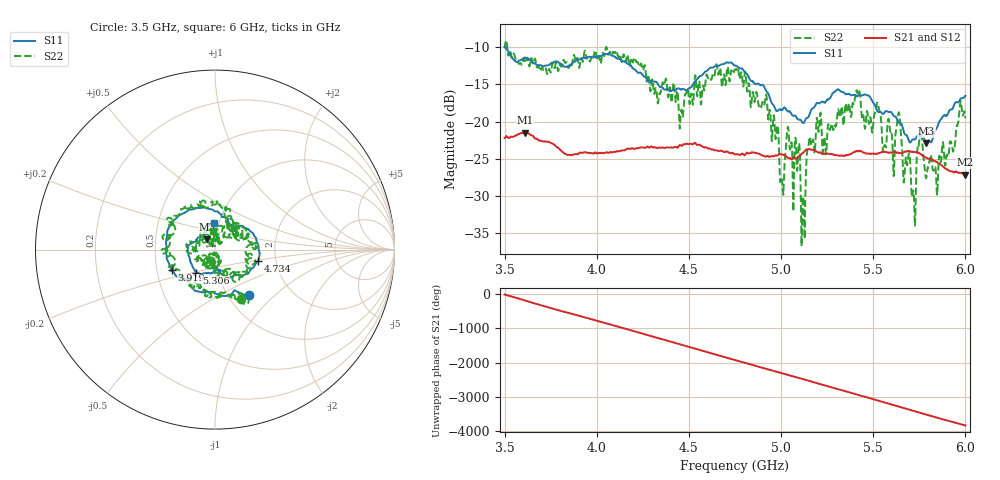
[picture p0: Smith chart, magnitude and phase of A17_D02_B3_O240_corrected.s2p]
! Created with skrf 1.9.0 (http://scikit-rf.org).
# Hz S RI R 50.0
!freq ReS11 ImS11 ReS21 ImS21 ReS12 ImS12 ReS22 ImS22
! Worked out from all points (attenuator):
!   1601 points, 3.5 GHz to 6 GHz, reference 50 ohm
!   highest |S21| = -21.47 dB at 3.611 GHz (marker M1); lowest = -27.1 dB at 5.998 GHz (marker M2)
!   lowest |S11| = -22.9 dB at 5.787 GHz (marker M3), VSWR 1.15, Z = 45.5 + j5.2 ohm
!   |S11| at or under -10 dB: 3.502 GHz to end of sweep
!   |S22| runs from -36.7 to -9.1 dB; largest |S21 - S12| = 0.00089
!   S11 on the Smith chart (normalised r, x): 3.5 GHz: 1.25, -0.71; 3.919 GHz: 0.60, -0.15; 4.734 GHz: 1.61, -0.22; 5.306 GHz: 0.79, -0.21; 6 GHz: 0.95, +0.29
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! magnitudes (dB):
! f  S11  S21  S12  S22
! 3.5 GHz  -9.9  -22.2  -22.2  -10.2
! 3.611 GHz  -11.4  -21.5  -21.5  -11.9
! 3.917 GHz  -11.6  -24.2  -24.2  -11.4
! 3.919 GHz  -11.5  -24.2  -24.2  -11.6
! 4.334 GHz  -15.1  -23.5  -23.4  -17.2
! 4.734 GHz  -12.1  -24.2  -24.2  -13.4
! 4.75 GHz  -12.5  -24.4  -24.3  -13.0
! 4.927 GHz  -16.1  -24.6  -24.6  -18.5
! 5.005 GHz  -18.4  -24.4  -24.4  -27.8
! 5.034 GHz  -18.6  -24.8  -24.8  -21.0
! 5.088 GHz  -19.6  -24.9  -24.8  -26.6
! 5.119 GHz  -20.1  -24.2  -24.1  -30.0
! 5.167 GHz  -18.3  -23.8  -23.7  -23.1
! 5.306 GHz  -15.7  -24.5  -24.5  -18.7
! 5.416 GHz  -16.6  -23.9  -24.0  -16.2
! 5.584 GHz  -18.7  -24.2  -24.1  -19.6
! 5.641 GHz  -20.1  -24.2  -24.2  -18.9
! 5.719 GHz  -22.4  -24.1  -24.0  -29.4
! 5.752 GHz  -22.1  -24.3  -24.2  -21.9
! 5.787 GHz  -22.9  -24.9  -24.8  -27.5
! 5.998 GHz  -16.6  -27.1  -27.0  -19.1
! 6 GHz  -16.5  -27.1  -27.0  -19.5
